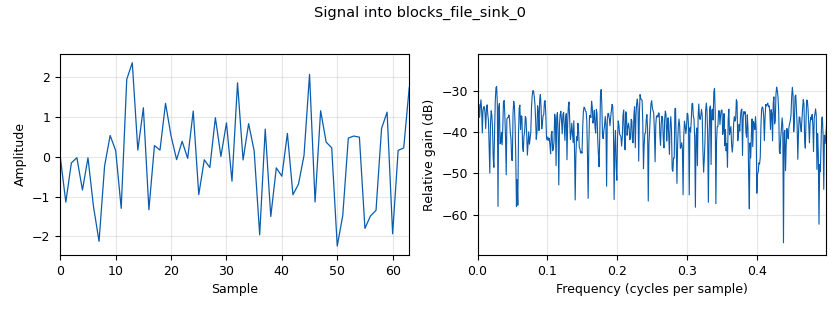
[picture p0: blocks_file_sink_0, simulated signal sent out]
options:
  parameters:
    generate_options: no_gui
    id: untitled
    output_language: python
    run_options: run
    title: Not titled yet
  states: {}

blocks:
- name: samp_rate
  id: variable
  parameters:
    value: '32000'
  states: {}
- name: analog_noise_source_x_0
  id: analog_noise_source_x
  parameters:
    amp: '1'
    noise_type: analog.GR_GAUSSIAN
    seed: '0'
    type: float
  states: {}
- name: blocks_file_sink_0
  id: blocks_file_sink
  parameters:
    file: C:\Users\ANEDCD~1\Desktop\3.letnik\Diploma\simulations\test.bin
    type: float
  states: {}
- name: blocks_head_0
  id: blocks_head
  parameters:
    num_items: '1024'
    type: float
  states: {}

connections:
- [analog_noise_source_x_0, '0', blocks_head_0, '0']
- [blocks_head_0, '0', blocks_file_sink_0, '0']

metadata:
  file_format: 1
  grc_version: 3.10.12.0
